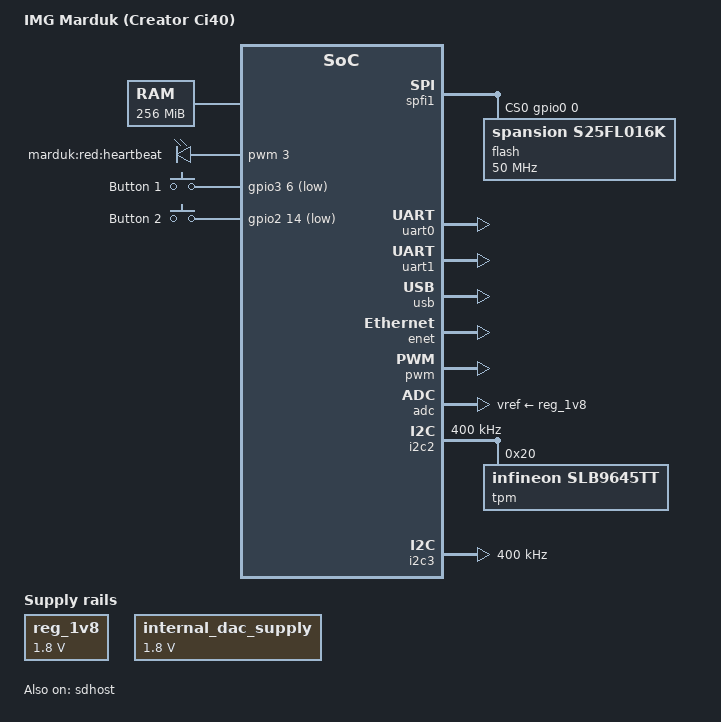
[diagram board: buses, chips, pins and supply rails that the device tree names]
// SPDX-License-Identifier: GPL-2.0-only
/*
 * Copyright (C) 2015, 2016 Imagination Technologies Ltd.
 *
 * IMG Marduk board is also known as Creator Ci40.
 */

/dts-v1/;

#include "pistachio.dtsi"

/ {
	model = "IMG Marduk (Creator Ci40)";
	compatible = "img,pistachio-marduk", "img,pistachio";

	aliases {
		serial0 = &uart0;
		serial1 = &uart1;
		ethernet0 = &enet;
		spi0 = &spfi0;
		spi1 = &spfi1;
	};

	chosen {
		bootargs = "root=/dev/sda1 rootwait ro lpj=723968";
		stdout-path = "serial1:115200";
	};

	memory {
		device_type = "memory";
		reg =  <0x00000000 0x10000000>;
	};

	reg_1v8: fixed-regulator {
		compatible = "regulator-fixed";
		regulator-name = "aux_adc_vref";
		regulator-min-microvolt = <1800000>;
		regulator-max-microvolt = <1800000>;
		regulator-boot-on;
	};

	internal_dac_supply: internal-dac-supply {
		compatible = "regulator-fixed";
		regulator-name = "internal_dac_supply";
		regulator-min-microvolt = <1800000>;
		regulator-max-microvolt = <1800000>;
	};

	leds {
		compatible = "pwm-leds";
		heartbeat {
			label = "marduk:red:heartbeat";
			pwms = <&pwm 3 300000>;
			max-brightness = <255>;
			linux,default-trigger = "heartbeat";
		};
	};

	keys {
		compatible = "gpio-keys";
		button@1 {
			label = "Button 1";
			linux,code = <0x101>; /* BTN_1 */
			gpios = <&gpio3 6 GPIO_ACTIVE_LOW>;
		};
		button@2 {
			label = "Button 2";
			linux,code = <0x102>; /* BTN_2 */
			gpios = <&gpio2 14 GPIO_ACTIVE_LOW>;
		};
	};
};

&internal_dac {
	VDD-supply = <&internal_dac_supply>;
};

&spfi1 {
	status = "okay";

	pinctrl-0 = <&spim1_pins>, <&spim1_quad_pins>, <&spim1_cs0_pin>,
		    <&spim1_cs1_pin>;
	pinctrl-names = "default";
	cs-gpios = <&gpio0 0 GPIO_ACTIVE_HIGH>, <&gpio0 1 GPIO_ACTIVE_HIGH>;

	flash@0 {
		compatible = "spansion,s25fl016k", "jedec,spi-nor";
		reg = <0>;
		spi-max-frequency = <50000000>;
	};
};

&uart0 {
	status = "okay";
	assigned-clock-rates = <114278400>, <1843200>;
};

&uart1 {
	status = "okay";
};

&usb {
	status = "okay";
};

&enet {
	status = "okay";
};

&pin_enet {
	drive-strength = <2>;
};

&pin_enet_phy_clk {
	drive-strength = <2>;
};

&sdhost {
	status = "okay";
	bus-width = <4>;
	disable-wp;
};

&pin_sdhost_cmd {
	drive-strength = <2>;
};

&pin_sdhost_data {
	drive-strength = <2>;
};

&pwm {
	status = "okay";

	pinctrl-0 = <&pwmpdm0_pin>, <&pwmpdm1_pin>, <&pwmpdm2_pin>,
		    <&pwmpdm3_pin>;
	pinctrl-names = "default";
};

&adc {
	status = "okay";
	vref-supply = <&reg_1v8>;
	adc-reserved-channels = <0x10>;
};

&i2c2 {
	status = "okay";
	clock-frequency = <400000>;

	tpm@20 {
		compatible = "infineon,slb9645tt";
		reg = <0x20>;
	};

};

&i2c3 {
	status = "okay";
	clock-frequency = <400000>;
};
